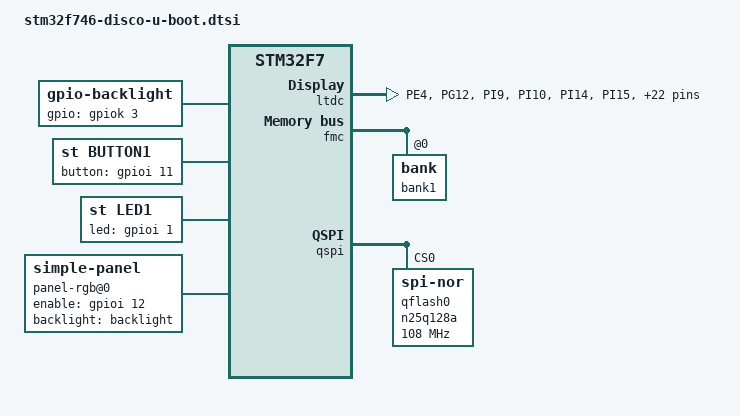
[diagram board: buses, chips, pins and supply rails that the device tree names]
// SPDX-License-Identifier: GPL-2.0+

#include <stm32f7-u-boot.dtsi>
/{
	chosen {
		bootargs = "root=/dev/ram rdinit=/linuxrc";
	};

	aliases {
		/* Aliases for gpios so as to use sequence */
		gpio0 = &gpioa;
		gpio1 = &gpiob;
		gpio2 = &gpioc;
		gpio3 = &gpiod;
		gpio4 = &gpioe;
		gpio5 = &gpiof;
		gpio6 = &gpiog;
		gpio7 = &gpioh;
		gpio8 = &gpioi;
		gpio9 = &gpioj;
		gpio10 = &gpiok;
		mmc0 = &sdio1;
		spi0 = &qspi;
	};

	backlight: backlight {
		compatible = "gpio-backlight";
		gpios = <&gpiok 3 0>;
		status = "okay";
	};

	button1 {
		compatible = "st,button1";
		button-gpio = <&gpioi 11 0>;
	};

	led1 {
		compatible = "st,led1";
		led-gpio = <&gpioi 1 0>;
	};

	panel-rgb@0 {
		compatible = "simple-panel";
		backlight = <&backlight>;
		enable-gpios = <&gpioi 12 0>;
		status = "okay";

		display-timings {
			timing@0 {
				clock-frequency = <9000000>;
				hactive = <480>;
				vactive = <272>;
				hfront-porch = <2>;
				hback-porch = <2>;
				hsync-len = <41>;
				vfront-porch = <2>;
				vback-porch = <2>;
				vsync-len = <10>;
				hsync-active = <0>;
				vsync-active = <0>;
				de-active = <0>;
				pixelclk-active = <1>;
			};
		};
	};

	soc {
		ltdc: display-controller@40016800 {
			compatible = "st,stm32-ltdc";
			reg = <0x40016800 0x200>;
			resets = <&rcc STM32F7_APB2_RESET(LTDC)>;
			clocks = <&rcc 0 STM32F7_APB2_CLOCK(LTDC)>;
			pinctrl-0 = <&ltdc_pins>;

			status = "okay";
			u-boot,dm-pre-reloc;
		};
	};
};

&fmc {
	/* Memory configuration from sdram datasheet MT48LC_4M32_B2B5-6A */
	bank1: bank@0 {
		u-boot,dm-pre-reloc;
		st,sdram-control = /bits/ 8 <NO_COL_8
					     NO_ROW_12
					     MWIDTH_16
					     BANKS_4
					     CAS_3
					     SDCLK_2
					     RD_BURST_EN
					     RD_PIPE_DL_0>;
		st,sdram-timing = /bits/ 8 <TMRD_2
					    TXSR_6
					    TRAS_4
					    TRC_6
					    TWR_2
					    TRP_2
					    TRCD_2>;
		/* refcount = (64msec/total_row_sdram)*freq - 20 */
		st,sdram-refcount = < 1542 >;
	};
};

&pinctrl {
	ethernet_mii: mii@0 {
		pins {
			pinmux = <STM32_PINMUX('G',13, AF11)>, /* ETH_RMII_TXD0 */
				 <STM32_PINMUX('G',14, AF11)>, /* ETH_RMII_TXD1 */
				 <STM32_PINMUX('G',11, AF11)>, /* ETH_RMII_TX_EN */
				 <STM32_PINMUX('A', 2, AF11)>, /* ETH_MDIO */
				 <STM32_PINMUX('C', 1, AF11)>, /* ETH_MDC */
				 <STM32_PINMUX('A', 1, AF11)>, /* ETH_RMII_REF_CLK */
				 <STM32_PINMUX('A', 7, AF11)>, /* ETH_RMII_CRS_DV */
				 <STM32_PINMUX('C', 4, AF11)>, /* ETH_RMII_RXD0 */
				 <STM32_PINMUX('C', 5, AF11)>; /* ETH_RMII_RXD1 */
			slew-rate = <2>;
		};
	};

	fmc_pins: fmc@0 {
		pins {
			pinmux = <STM32_PINMUX('D',10, AF12)>, /* D15 */
				 <STM32_PINMUX('D', 9, AF12)>, /* D14 */
				 <STM32_PINMUX('D', 8, AF12)>, /* D13 */
				 <STM32_PINMUX('E',15, AF12)>, /* D12 */
				 <STM32_PINMUX('E',14, AF12)>, /* D11 */
				 <STM32_PINMUX('E',13, AF12)>, /* D10 */
				 <STM32_PINMUX('E',12, AF12)>, /* D9 */
				 <STM32_PINMUX('E',11, AF12)>, /* D8 */
				 <STM32_PINMUX('E',10, AF12)>, /* D7 */
				 <STM32_PINMUX('E', 9, AF12)>, /* D6 */
				 <STM32_PINMUX('E', 8, AF12)>, /* D5 */
				 <STM32_PINMUX('E', 7, AF12)>, /* D4 */
				 <STM32_PINMUX('D', 1, AF12)>, /* D3 */
				 <STM32_PINMUX('D', 0, AF12)>, /* D2 */
				 <STM32_PINMUX('D',15, AF12)>, /* D1 */
				 <STM32_PINMUX('D',14, AF12)>, /* D0 */

				 <STM32_PINMUX('E', 1, AF12)>, /* NBL1 */
				 <STM32_PINMUX('E', 0, AF12)>, /* NBL0 */

				 <STM32_PINMUX('G', 5, AF12)>, /* BA1 */
				 <STM32_PINMUX('G', 4, AF12)>, /* BA0 */

				 <STM32_PINMUX('G', 1, AF12)>, /* A11 */
				 <STM32_PINMUX('G', 0, AF12)>, /* A10 */
				 <STM32_PINMUX('F',15, AF12)>, /* A9 */
				 <STM32_PINMUX('F',14, AF12)>, /* A8 */
				 <STM32_PINMUX('F',13, AF12)>, /* A7 */
				 <STM32_PINMUX('F',12, AF12)>, /* A6 */
				 <STM32_PINMUX('F', 5, AF12)>, /* A5 */
				 <STM32_PINMUX('F', 4, AF12)>, /* A4 */
				 <STM32_PINMUX('F', 3, AF12)>, /* A3 */
				 <STM32_PINMUX('F', 2, AF12)>, /* A2 */
				 <STM32_PINMUX('F', 1, AF12)>, /* A1 */
				 <STM32_PINMUX('F', 0, AF12)>, /* A0 */

				 <STM32_PINMUX('H', 3, AF12)>, /* SDNE0 */
				 <STM32_PINMUX('H', 5, AF12)>, /* SDNWE */
				 <STM32_PINMUX('F',11, AF12)>, /* SDNRAS */
				 <STM32_PINMUX('G',15, AF12)>, /* SDNCAS */
				 <STM32_PINMUX('C', 3, AF12)>, /* SDCKE0 */
				 <STM32_PINMUX('G', 8, AF12)>; /* SDCLK> */
			slew-rate = <2>;
		};
	};

	ltdc_pins: ltdc@0 {
		pins {
			pinmux = <STM32_PINMUX('E', 4, AF14)>, /* B0 */
				 <STM32_PINMUX('G',12, AF14)>, /* B4 */
				 <STM32_PINMUX('I', 9, AF14)>, /* VSYNC */
				 <STM32_PINMUX('I',10, AF14)>, /* HSYNC */
				 <STM32_PINMUX('I',14, AF14)>, /* CLK */
				 <STM32_PINMUX('I',15, AF14)>, /* R0 */
				 <STM32_PINMUX('J', 0, AF14)>, /* R1 */
				 <STM32_PINMUX('J', 1, AF14)>, /* R2 */
				 <STM32_PINMUX('J', 2, AF14)>, /* R3 */
				 <STM32_PINMUX('J', 3, AF14)>, /* R4 */
				 <STM32_PINMUX('J', 4, AF14)>, /* R5 */
				 <STM32_PINMUX('J', 5, AF14)>, /* R6 */
				 <STM32_PINMUX('J', 6, AF14)>, /* R7 */
				 <STM32_PINMUX('J', 7, AF14)>, /* G0 */
				 <STM32_PINMUX('J', 8, AF14)>, /* G1 */
				 <STM32_PINMUX('J', 9, AF14)>, /* G2 */
				 <STM32_PINMUX('J',10, AF14)>, /* G3 */
				 <STM32_PINMUX('J',11, AF14)>, /* G4 */
				 <STM32_PINMUX('J',13, AF14)>, /* B1 */
				 <STM32_PINMUX('J',14, AF14)>, /* B2 */
				 <STM32_PINMUX('J',15, AF14)>, /* B3 */
				 <STM32_PINMUX('K', 0, AF14)>, /* G5 */
				 <STM32_PINMUX('K', 1, AF14)>, /* G6 */
				 <STM32_PINMUX('K', 2, AF14)>, /* G7 */
				 <STM32_PINMUX('K', 4, AF14)>, /* B5 */
				 <STM32_PINMUX('K', 5, AF14)>, /* B6 */
				 <STM32_PINMUX('K', 6, AF14)>, /* B7 */
				 <STM32_PINMUX('K', 7, AF14)>; /* DE */
			slew-rate = <2>;
		};
	};

	qspi_pins: qspi@0 {
		pins {
			pinmux = <STM32_PINMUX('B', 2, AF9)>, /* CLK */
				 <STM32_PINMUX('B', 6, AF10)>, /* BK1_NCS */
				 <STM32_PINMUX('D',11, AF9)>, /* BK1_IO0 */
				 <STM32_PINMUX('D',12, AF9)>, /* BK1_IO1 */
				 <STM32_PINMUX('D',13, AF9)>, /* BK1_IO3 */
				 <STM32_PINMUX('E', 2, AF9)>; /* BK1_IO2 */
			slew-rate = <2>;
		};
	};

	usart1_pins_b: usart1@1	{
		u-boot,dm-pre-reloc;
		pins1 {
			u-boot,dm-pre-reloc;
		};
		pins2 {
			u-boot,dm-pre-reloc;
		};
	};
};

&pwrcfg {
	u-boot,dm-pre-reloc;
};

&qspi {
	reg = <0xA0001000 0x1000>, <0x90000000 0x1000000>;
	qflash0: n25q128a {
		#address-cells = <1>;
		#size-cells = <1>;
		compatible = "jedec,spi-nor";
		spi-max-frequency = <108000000>;
		spi-tx-bus-width = <4>;
		spi-rx-bus-width = <4>;
		reg = <0>;
	};
};

&timer5 {
	u-boot,dm-pre-reloc;
};
